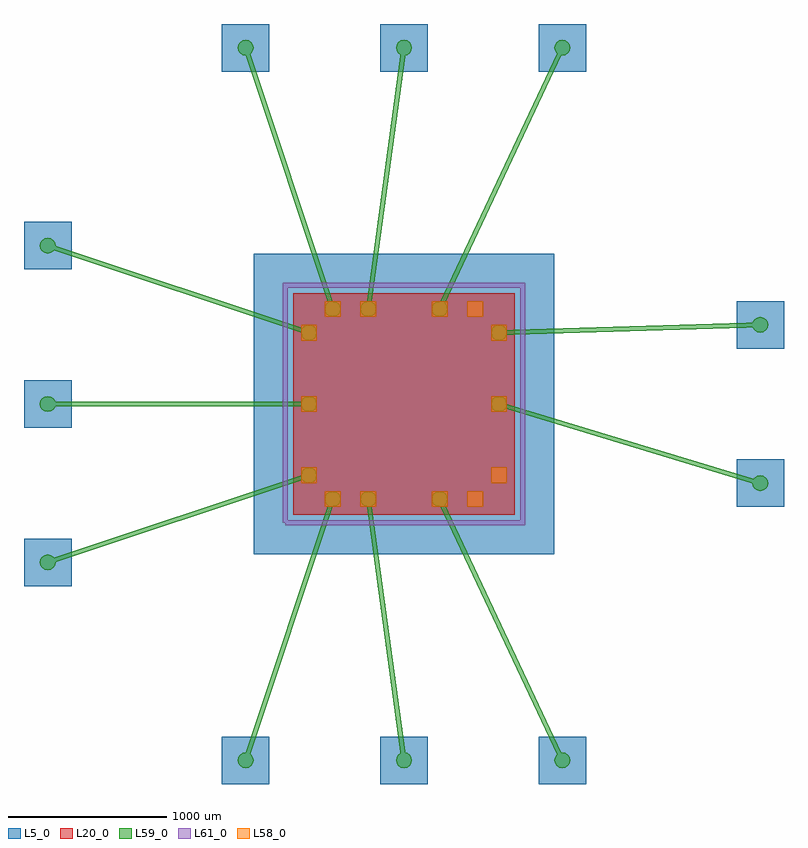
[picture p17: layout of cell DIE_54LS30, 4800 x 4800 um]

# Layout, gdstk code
import gdstk
lib = gdstk.Library(unit=1e-6, precision=1e-09)
def R(c, l, rs):  # rectangles x0, y0, x1, y1
    for r in rs: c.add(gdstk.rectangle(r[:2], r[2:], *l))
def A(c, l, x, y, w, h, nx, ny, dx, dy):  # array of equal rectangles
    R(c, l, [(x+i*dx, y+j*dy, x+i*dx+w, y+j*dy+h) for i in range(nx) for j in range(ny)])
def P(c, l, *ps):  # polygons
    for p in ps: c.add(gdstk.Polygon(p, *l))
L5_0 = (5, 0)
L20_0 = (20, 0)
L58_0 = (58, 0)
L59_0 = (59, 0)
L61_0 = (61, 0)

die_54ls30 = lib.new_cell('DIE_54LS30')
A(die_54ls30, L5_0, -1150, -2400, 300, 300, 3, 2, 1000, 4500)
A(die_54ls30, L5_0, -2400, -1150, 300, 300, 1, 3, 0, 1000)
R(die_54ls30, L5_0, [(-950,-950,950,950), (2100,-650,2400,-350), (2100,350,2400,650)])
R(die_54ls30, L20_0, [(-700,-700,700,700)])
A(die_54ls30, L58_0, -650, -500, 100, 100, 1, 3, 0, 450)
A(die_54ls30, L58_0, 550, -500, 100, 100, 1, 3, 0, 450)
R(die_54ls30, L58_0, [(-500,-650,-400,-550), (-275,-650,-175,-550), (175,-650,275,-550), (400,-650,500,-550), (-500,550,-400,650), (-275,550,-175,650), (175,550,275,650), (400,550,500,650)])
P(die_54ls30, L59_0, [(-175,600),(-179,619),(-190,635),(-206,646),(-225,650),(-244,646),(-260,635),(-271,619),(-275,600),(-271,581),(-260,565),(-244,554),(-225,550),(-206,554),(-190,565),(-179,581)],
  [(50,2250),(46,2269),(35,2285),(19,2296),(0,2300),(-19,2296),(-35,2285),(-46,2269),(-50,2250),(-46,2231),(-35,2215),(-19,2204),(0,2200),(19,2204),(35,2215),(46,2231)],
  [(-400,600),(-404,619),(-415,635),(-431,646),(-450,650),(-469,646),(-485,635),(-496,619),(-500,600),(-496,581),(-485,565),(-469,554),(-450,550),(-431,554),(-415,565),(-404,581)],
  [(-950,2250),(-954,2269),(-965,2285),(-981,2296),(-1000,2300),(-1019,2296),(-1035,2285),(-1046,2269),(-1050,2250),(-1046,2231),(-1035,2215),(-1019,2204),(-1000,2200),(-981,2204),(-965,2215),(-954,2231)],
  [(-550,450),(-554,469),(-565,485),(-581,496),(-600,500),(-619,496),(-635,485),(-646,469),(-650,450),(-646,431),(-635,415),(-619,404),(-600,400),(-581,404),(-565,415),(-554,431)],
  [(-2200,1000),(-2204,1019),(-2215,1035),(-2231,1046),(-2250,1050),(-2269,1046),(-2285,1035),(-2296,1019),(-2300,1000),(-2296,981),(-2285,965),(-2269,954),(-2250,950),(-2231,954),(-2215,965),(-2204,981)],
  [(-550,0),(-554,19),(-565,35),(-581,46),(-600,50),(-619,46),(-635,35),(-646,19),(-650,0),(-646,-19),(-635,-35),(-619,-46),(-600,-50),(-581,-46),(-565,-35),(-554,-19)],
  [(-2200,0),(-2204,19),(-2215,35),(-2231,46),(-2250,50),(-2269,46),(-2285,35),(-2296,19),(-2300,0),(-2296,-19),(-2285,-35),(-2269,-46),(-2250,-50),(-2231,-46),(-2215,-35),(-2204,-19)],
  [(-550,-450),(-554,-431),(-565,-415),(-581,-404),(-600,-400),(-619,-404),(-635,-415),(-646,-431),(-650,-450),(-646,-469),(-635,-485),(-619,-496),(-600,-500),(-581,-496),(-565,-485),(-554,-469)],
  [(-2200,-1000),(-2204,-981),(-2215,-965),(-2231,-954),(-2250,-950),(-2269,-954),(-2285,-965),(-2296,-981),(-2300,-1000),(-2296,-1019),(-2285,-1035),(-2269,-1046),(-2250,-1050),(-2231,-1046),(-2215,-1035),(-2204,-1019)],
  [(-400,-600),(-404,-581),(-415,-565),(-431,-554),(-450,-550),(-469,-554),(-485,-565),(-496,-581),(-500,-600),(-496,-619),(-485,-635),(-469,-646),(-450,-650),(-431,-646),(-415,-635),(-404,-619)],
  [(-950,-2250),(-954,-2231),(-965,-2215),(-981,-2204),(-1000,-2200),(-1019,-2204),(-1035,-2215),(-1046,-2231),(-1050,-2250),(-1046,-2269),(-1035,-2285),(-1019,-2296),(-1000,-2300),(-981,-2296),(-965,-2285),(-954,-2269)],
  [(-175,-600),(-179,-581),(-190,-565),(-206,-554),(-225,-550),(-244,-554),(-260,-565),(-271,-581),(-275,-600),(-271,-619),(-260,-635),(-244,-646),(-225,-650),(-206,-646),(-190,-635),(-179,-619)],
  [(50,-2250),(46,-2231),(35,-2215),(19,-2204),(0,-2200),(-19,-2204),(-35,-2215),(-46,-2231),(-50,-2250),(-46,-2269),(-35,-2285),(-19,-2296),(0,-2300),(19,-2296),(35,-2285),(46,-2269)],
  [(275,-600),(271,-581),(260,-565),(244,-554),(225,-550),(206,-554),(190,-565),(179,-581),(175,-600),(179,-619),(190,-635),(206,-646),(225,-650),(244,-646),(260,-635),(271,-619)],
  [(1050,-2250),(1046,-2231),(1035,-2215),(1019,-2204),(1000,-2200),(981,-2204),(965,-2215),(954,-2231),(950,-2250),(954,-2269),(965,-2285),(981,-2296),(1000,-2300),(1019,-2296),(1035,-2285),(1046,-2269)],
  [(650,0),(646,19),(635,35),(619,46),(600,50),(581,46),(565,35),(554,19),(550,0),(554,-19),(565,-35),(581,-46),(600,-50),(619,-46),(635,-35),(646,-19)],
  [(2300,-500),(2296,-481),(2285,-465),(2269,-454),(2250,-450),(2231,-454),(2215,-465),(2204,-481),(2200,-500),(2204,-519),(2215,-535),(2231,-546),(2250,-550),(2269,-546),(2285,-535),(2296,-519)],
  [(650,450),(646,469),(635,485),(619,496),(600,500),(581,496),(565,485),(554,469),(550,450),(554,431),(565,415),(581,404),(600,400),(619,404),(635,415),(646,431)],
  [(2300,500),(2296,519),(2285,535),(2269,546),(2250,550),(2231,546),(2215,535),(2204,519),(2200,500),(2204,481),(2215,465),(2231,454),(2250,450),(2269,454),(2285,465),(2296,481)],
  [(275,600),(271,619),(260,635),(244,646),(225,650),(206,646),(190,635),(179,619),(175,600),(179,581),(190,565),(206,554),(225,550),(244,554),(260,565),(271,581)],
  [(1050,2250),(1046,2269),(1035,2285),(1019,2296),(1000,2300),(981,2296),(965,2285),(954,2269),(950,2250),(954,2231),(965,2215),(981,2204),(1000,2200),(1019,2204),(1035,2215),(1046,2231)])
die_54ls30.add(gdstk.FlexPath([(-750,-750),(750,-750),(750,750),(-750,750),(-750,-750)], 30, ends="flush", simple_path=True, layer=61, datatype=0))  # L61_0
die_54ls30.add(gdstk.FlexPath([(-225,600),(0,2250)], 30, ends="round", simple_path=True, layer=59, datatype=0))  # L59_0
die_54ls30.add(gdstk.FlexPath([(-450,600),(-1000,2250)], 30, ends="round", simple_path=True, layer=59, datatype=0))  # L59_0
die_54ls30.add(gdstk.FlexPath([(-600,450),(-2250,1000)], 30, ends="round", simple_path=True, layer=59, datatype=0))  # L59_0
die_54ls30.add(gdstk.FlexPath([(-600,0),(-2250,0)], 30, ends="round", simple_path=True, layer=59, datatype=0))  # L59_0
die_54ls30.add(gdstk.FlexPath([(-600,-450),(-2250,-1000)], 30, ends="round", simple_path=True, layer=59, datatype=0))  # L59_0
die_54ls30.add(gdstk.FlexPath([(-450,-600),(-1000,-2250)], 30, ends="round", simple_path=True, layer=59, datatype=0))  # L59_0
die_54ls30.add(gdstk.FlexPath([(-225,-600),(0,-2250)], 30, ends="round", simple_path=True, layer=59, datatype=0))  # L59_0
die_54ls30.add(gdstk.FlexPath([(225,-600),(1000,-2250)], 30, ends="round", simple_path=True, layer=59, datatype=0))  # L59_0
die_54ls30.add(gdstk.FlexPath([(600,0),(2250,-500)], 30, ends="round", simple_path=True, layer=59, datatype=0))  # L59_0
die_54ls30.add(gdstk.FlexPath([(600,450),(2250,500)], 30, ends="round", simple_path=True, layer=59, datatype=0))  # L59_0
die_54ls30.add(gdstk.FlexPath([(225,600),(1000,2250)], 30, ends="round", simple_path=True, layer=59, datatype=0))  # L59_0

lib.write_gds('DIE_54LS30.gds')
